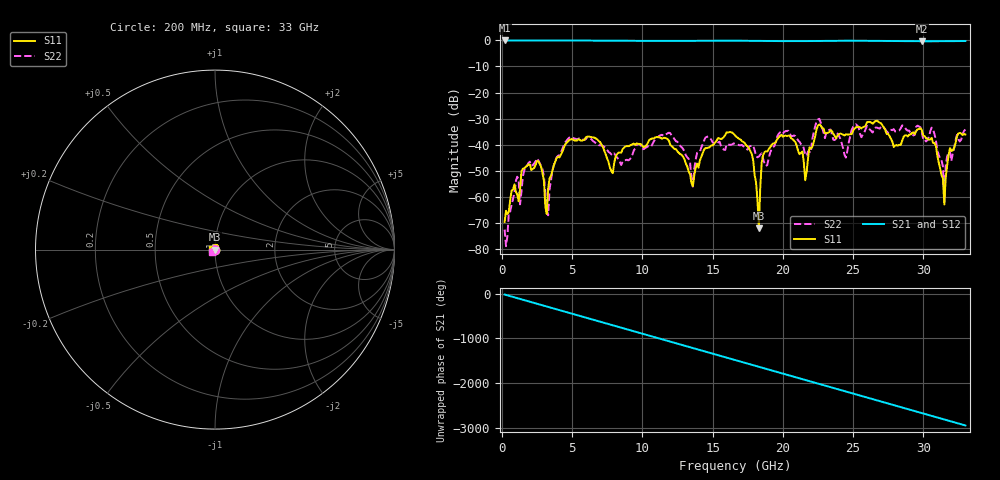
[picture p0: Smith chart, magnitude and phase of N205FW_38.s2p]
# GHZ S RI R 50
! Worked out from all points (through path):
!   329 points, 200 MHz to 33 GHz, reference 50 ohm
!   highest |S21| = -0.02 dB at 200 MHz (marker M1); lowest = -0.3 dB at 29.9 GHz (marker M2)
!   group delay of S21, straight-line fit = 248 ps
!   lowest |S11| = -72.0 dB at 18.3 GHz (marker M3), VSWR 1.00, Z = 50 + j0.0217 ohm
!   |S11| at or under -10 dB: start of sweep to end of sweep
!   |S22| runs from -78.9 to -30.1 dB; largest |S21 - S12| = 0.0022
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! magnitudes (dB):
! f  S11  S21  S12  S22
! 200 MHz  -69.6  0.0  0.0  -72.6
! 1.9 GHz  -47.6  -0.1  -0.1  -47.0
! 3.3 GHz  -57.0  -0.1  -0.1  -67.1
! 3.9 GHz  -45.2  -0.1  -0.1  -44.8
! 5.7 GHz  -38.5  -0.1  -0.1  -38.1
! 7.9 GHz  -50.9  -0.1  -0.1  -44.1
! 11.2 GHz  -37.2  -0.2  -0.2  -36.7
! 13.6 GHz  -56.0  -0.1  -0.2  -56.1
! 14.5 GHz  -41.3  -0.1  -0.1  -37.2
! 16.6 GHz  -36.4  -0.1  -0.1  -39.6
! 17.8 GHz  -43.6  -0.2  -0.2  -40.4
! 18.3 GHz  -72.0  -0.2  -0.2  -44.5
! 18.7 GHz  -42.9  -0.2  -0.2  -47.2
! 20.5 GHz  -36.7  -0.3  -0.3  -35.6
! 21.6 GHz  -53.6  -0.3  -0.3  -44.1
! 22.1 GHz  -40.8  -0.2  -0.2  -37.9
! 27.6 GHz  -36.8  -0.2  -0.2  -34.3
! 29.9 GHz  -34.4  -0.3  -0.3  -35.1
! 30.8 GHz  -39.4  -0.3  -0.3  -35.9
! 31.5 GHz  -63.0  -0.3  -0.3  -62.0
! 31.9 GHz  -41.3  -0.3  -0.3  -42.8
! 33 GHz  -36.1  -0.2  -0.2  -34.2
